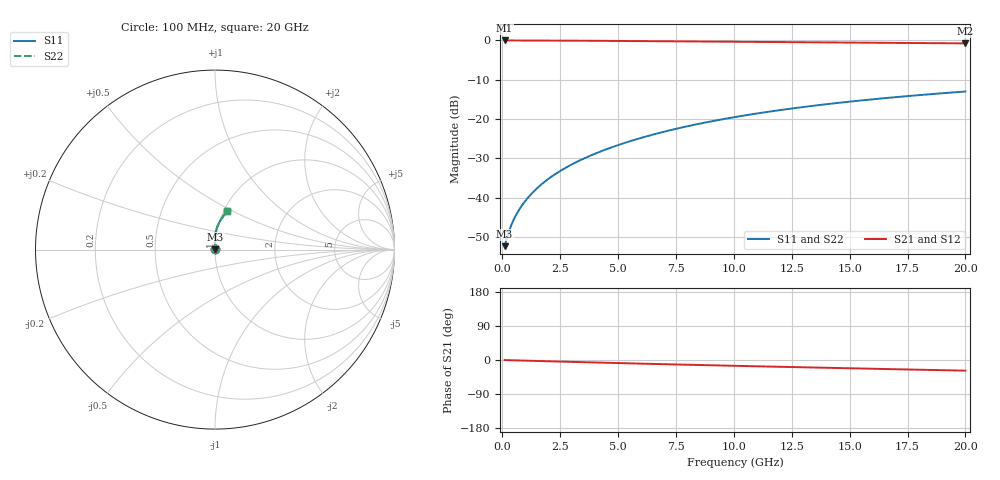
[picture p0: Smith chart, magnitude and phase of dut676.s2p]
! Touchstone file exported from HFSS 2024.1.0
!  File:  C:/UserFiles/LocalFiles/RDL_TSV_Batchsim/temp_RDL_top_676_1779782311.aedt
!  Generated:  04:00:27 PM May 26, 2026
!  Design:  RDL_top
!  Project:  temp_RDL_top_676_1779782311
!  Setup:  Setup1
!  Solution:  Sweep
! Variables:
!  dtsv = 10.80580581um
!  hbump = 3um
!  htsv = 92.06um
!  ldown = 100um
!  lrdl = 421.05um
!  p = 40
!  p1 = 43.88um
!  rhole = 1um
!  t = 450um
!  tdown = 3.915915916um
!  trdl = 3.02um
!  wdown = 15.38538539um
!  wrdl = 26.03um
# GHz S MA R 50.000000
! Terminal data exported
! Port[1] = Box2_T1
! Port[2] = Box2_T2
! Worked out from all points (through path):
!   200 points, 100 MHz to 20 GHz, reference 50 ohm
!   highest |S21| = -0.02 dB at 100 MHz (marker M1); lowest = -0.8 dB at 20 GHz (marker M2)
!   group delay of S21, straight-line fit = 3.86 ps
!   lowest |S11| = -52.3 dB at 100 MHz (marker M3), VSWR 1.00, Z = 50.2 + j0.105 ohm
!   |S11| at or under -10 dB: start of sweep to end of sweep
!   |S22| runs from -52.3 to -13.0 dB; largest |S21 - S12| = 2.7e-15
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0.1  0.002416 25.8  0.9978 -0.2  0.9978 -0.2  0.002416 25.8
! Gamma 0 0 0 0
! Port Impedance 50 0 50 0
0.3  0.003818 50.4  0.9975 -0.5  0.9975 -0.5  0.003818 50.4
0.4  0.00457 56.2  0.9973 -0.7  0.9973 -0.7  0.00457 56.2
0.5  0.005316 60.5  0.9972 -0.9  0.9972 -0.9  0.005316 60.5
0.6  0.006061 63.9  0.997 -1.0  0.997 -1.0  0.006061 63.9
0.8  0.007573 69.1  0.9967 -1.4  0.9967 -1.4  0.007573 69.1
1  0.009124 73.0  0.9965 -1.7  0.9965 -1.7  0.009124 73.0
1.2  0.01072 75.9  0.9962 -2.0  0.9962 -2.0  0.01072 75.9
1.7  0.01484 80.9  0.9953 -2.9  0.9953 -2.9  0.01484 80.9
2.2  0.01916 84.0  0.9941 -3.7  0.9941 -3.7  0.01916 84.0
2.8  0.02458 86.5  0.9924 -4.7  0.9924 -4.7  0.02458 86.5
3.5  0.03123 88.4  0.9901 -5.8  0.9901 -5.8  0.03122 88.4
4.2  0.03822 89.5  0.9874 -6.9  0.9874 -6.9  0.03821 89.5
5  0.04661 90.1  0.984 -8.1  0.984 -8.1  0.0466 90.1
5.9  0.0565 90.3  0.9799 -9.5  0.9799 -9.5  0.05649 90.3
6.8  0.0668 90.0  0.9757 -10.8  0.9757 -10.8  0.06678 90.0
8.4  0.08582 88.7  0.9679 -13.1  0.9679 -13.1  0.08579 88.6
10.1  0.1066 86.6  0.9598 -15.4  0.9598 -15.4  0.1065 86.6
11.7  0.1263 84.4  0.9523 -17.6  0.9523 -17.6  0.1262 84.4
13.4  0.1471 81.9  0.9445 -19.8  0.9445 -19.8  0.147 81.8
16.7  0.1864 76.8  0.93 -24.0  0.93 -24.0  0.1863 76.8
20  0.2238 71.9  0.9159 -28.1  0.9159 -28.1  0.2237 71.9
